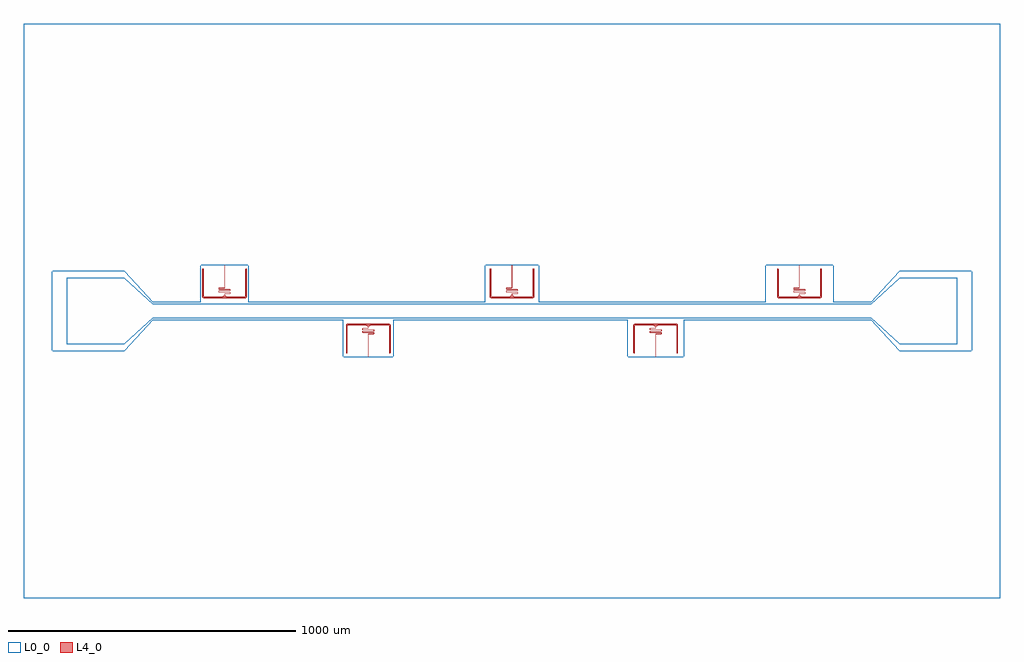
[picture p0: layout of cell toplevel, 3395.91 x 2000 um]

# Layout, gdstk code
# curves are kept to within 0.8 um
import gdstk
lib = gdstk.Library(unit=1e-6, precision=1e-09)
def P(c, l, *ps):  # polygons
    for p in ps: c.add(gdstk.Polygon(p, *l))
L0_0 = (0, 0)
L4_0 = (4, 0)

toplevel = lib.new_cell('toplevel')
P(toplevel, L0_0, [(1697.954,1000),(-1697.954,1000),(-1697.954,-137.954),(-1600,-137.954),(-1600,137.954),(-1350,137.954),(-1250,30.05),(-1082.5,30.05),(-1082.5,160.05),(-917.5,160.05),(-917.5,30.05),(-92.5,30.05),(-92.5,160.05),(92.5,160.05),(92.5,30.05),(882.5,30.05),(882.5,160.05),(1117.5,160.05),(1117.5,30.05),(1250,30.05),(1350,137.954),(1600,137.954),(1600,-137.954),(1350,-137.954),(1250,-30.05),(597.5,-30.05),(597.5,-160.05),(402.5,-160.05),(402.5,-30.05),(-412.5,-30.05),(-412.5,-160.05),(-587.5,-160.05),(-587.5,-30.05),(-1250,-30.05),(-1350,-137.954),(-1697.954,-137.954),(-1697.954,-1000),(1697.954,-1000)],
  [(-1250,25.05),(-1350,115),(-1550,115),(-1550,-115),(-1350,-115),(-1250,-25.05),(1250,-25.05),(1350,-115),(1550,-115),(1550,115),(1350,115),(1250,25.05)])
P(toplevel, L4_0, [(-1070.458,45.05),(-1073.313,45.356),(-1075.466,46.473),(-1076.915,48.45),(-1077.475,51.004),(-1077.5,145.05),(-1076.434,147.098),(-1075.109,147.548),(-1073.846,147.268),(-1072.891,146.393),(-1072.502,145.159),(-1072.496,51.622),(-1072.244,50.297),(-1070.62,50.05),(-1010,50.05),(-1000.3,54.95),(-1000.277,59.276),(-999.54,60.18),(-980.418,60.434),(-980.316,64.185),(-980.803,64.639),(-1019.048,64.651),(-1020.263,65.541),(-1020.262,69.365),(-1019.294,70.231),(-981.015,70.25),(-980.327,70.651),(-980.312,74.156),(-980.79,74.637),(-1019.042,74.651),(-1020.256,75.508),(-1020.272,79.308),(-1019.481,80.196),(-1000.971,80.251),(-1000.331,80.633),(-1000.3,159.95),(-999.7,159.95),(-999.747,80.495),(-1000.882,79.654),(-1019.325,79.617),(-1019.692,79.113),(-1019.67,75.64),(-1018.985,75.25),(-980.705,75.231),(-979.738,74.365),(-979.74,70.528),(-980.957,69.651),(-1019.21,69.637),(-1019.688,69.156),(-1019.482,65.344),(-980.088,64.984),(-979.7,61.072),(-980.309,59.778),(-999.599,59.442),(-999.7,54.95),(-990,50.05),(-927.777,50.281),(-927.498,145.159),(-926.915,146.657),(-925.647,147.465),(-924.145,147.399),(-922.952,146.484),(-922.5,145.05),(-922.503,51.613),(-923.1,48.415),(-924.934,46.168),(-926.821,45.32),(-929.332,45.05)],
  [(-500.3,-159.95),(-500.253,-80.495),(-499.118,-79.654),(-480.675,-79.617),(-480.308,-79.113),(-480.329,-75.64),(-481.015,-75.25),(-519.294,-75.231),(-520.262,-74.365),(-520.26,-70.528),(-519.042,-69.651),(-480.79,-69.637),(-480.312,-69.156),(-480.518,-65.344),(-519.912,-64.984),(-520.3,-61.072),(-519.691,-59.778),(-500.401,-59.442),(-500.3,-54.95),(-510,-50.05),(-572.243,-50.296),(-572.502,-145.159),(-573.393,-146.965),(-575.434,-147.512),(-576.915,-146.657),(-577.5,-145.05),(-577.498,-51.688),(-577.23,-49.371),(-576.428,-47.552),(-574.1,-45.635),(-570.668,-45.05),(-429.332,-45.05),(-426.888,-45.303),(-425.002,-46.122),(-423.1,-48.415),(-422.5,-51.906),(-422.502,-145.159),(-423.085,-146.657),(-424.566,-147.512),(-426.607,-146.965),(-427.498,-145.159),(-427.751,-50.301),(-490,-50.05),(-499.7,-54.95),(-499.723,-59.276),(-500.46,-60.18),(-519.582,-60.434),(-519.684,-64.185),(-519.197,-64.639),(-480.952,-64.651),(-479.737,-65.541),(-479.738,-69.365),(-480.706,-70.231),(-518.985,-70.25),(-519.673,-70.651),(-519.688,-74.156),(-519.21,-74.637),(-480.957,-74.651),(-479.744,-75.508),(-479.728,-79.308),(-480.519,-80.196),(-499.029,-80.251),(-499.669,-80.633),(-499.7,-159.95)],
  [(-70.459,45.05),(-73.313,45.356),(-75.466,46.473),(-76.9,48.415),(-77.478,51.059),(-77.5,145.05),(-76.434,147.098),(-75.218,147.54),(-73.943,147.316),(-72.891,146.393),(-72.502,145.159),(-72.498,51.715),(-72.243,50.296),(-70.62,50.05),(-10,50.05),(-0.3,54.95),(-0.277,59.276),(0.46,60.18),(19.582,60.434),(19.684,64.185),(19.197,64.639),(-19.048,64.651),(-20.263,65.541),(-20.262,69.365),(-19.294,70.231),(18.985,70.25),(19.673,70.651),(19.688,74.156),(19.21,74.637),(-19.042,74.651),(-20.256,75.508),(-20.272,79.308),(-19.481,80.196),(-0.971,80.251),(-0.331,80.633),(-0.3,159.95),(0.3,159.95),(0.253,80.495),(-0.882,79.654),(-19.325,79.617),(-19.692,79.113),(-19.67,75.64),(-18.985,75.25),(19.294,75.231),(20.262,74.365),(20.26,70.528),(19.042,69.651),(-19.21,69.637),(-19.688,69.156),(-19.482,65.344),(19.912,64.984),(20.3,61.072),(19.691,59.778),(0.401,59.442),(0.3,54.95),(10,50.05),(72.223,50.281),(72.502,145.159),(73.085,146.657),(74.353,147.465),(75.855,147.399),(77.048,146.484),(77.5,145.05),(77.495,51.512),(76.9,48.415),(75.066,46.168),(73.179,45.32),(70.668,45.05)],
  [(499.7,-159.95),(499.747,-80.495),(500.882,-79.654),(519.325,-79.617),(519.692,-79.113),(519.67,-75.64),(518.985,-75.25),(480.706,-75.231),(479.738,-74.365),(479.74,-70.528),(480.957,-69.651),(519.21,-69.637),(519.688,-69.156),(519.481,-65.344),(480.088,-64.984),(479.7,-61.072),(480.309,-59.778),(499.599,-59.442),(499.7,-54.95),(490,-50.05),(427.751,-50.301),(427.498,-145.159),(426.607,-146.965),(424.566,-147.512),(423.085,-146.657),(422.5,-145.05),(422.502,-51.688),(422.77,-49.371),(423.572,-47.552),(425.865,-45.65),(429.332,-45.05),(570.668,-45.05),(572.98,-45.271),(574.93,-46.077),(576.899,-48.415),(577.5,-51.906),(577.498,-145.159),(576.915,-146.657),(575.434,-147.512),(573.393,-146.965),(572.502,-145.159),(572.249,-50.301),(510,-50.05),(500.3,-54.95),(500.277,-59.276),(499.54,-60.18),(480.418,-60.434),(480.316,-64.185),(480.803,-64.639),(519.048,-64.651),(520.263,-65.541),(520.262,-69.365),(519.294,-70.231),(481.015,-70.25),(480.327,-70.651),(480.312,-74.156),(480.79,-74.637),(519.042,-74.651),(520.256,-75.508),(520.272,-79.308),(519.481,-80.196),(500.971,-80.251),(500.331,-80.633),(500.3,-159.95)],
  [(929.541,45.05),(926.687,45.356),(924.534,46.473),(923.1,48.415),(922.525,51.004),(922.5,145.05),(923.566,147.098),(924.891,147.548),(926.154,147.268),(927.108,146.393),(927.498,145.159),(927.503,51.659),(927.757,50.296),(929.38,50.05),(990,50.05),(999.7,54.95),(999.723,59.276),(1000.46,60.18),(1019.582,60.434),(1019.684,64.185),(1019.197,64.639),(980.952,64.651),(979.737,65.541),(979.738,69.365),(980.705,70.231),(1018.985,70.25),(1019.673,70.651),(1019.688,74.156),(1019.21,74.637),(980.957,74.651),(979.744,75.508),(979.728,79.308),(980.519,80.196),(999.029,80.251),(999.669,80.633),(999.7,159.95),(1000.3,159.95),(1000.253,80.495),(999.118,79.654),(980.675,79.617),(980.308,79.113),(980.329,75.64),(981.015,75.25),(1019.294,75.231),(1020.262,74.365),(1020.26,70.528),(1019.042,69.651),(980.79,69.637),(980.312,69.156),(980.518,65.344),(1019.912,64.984),(1020.3,61.072),(1019.691,59.778),(1000.401,59.442),(1000.3,54.95),(1010,50.05),(1072.223,50.281),(1072.502,145.159),(1073.016,146.572),(1074.353,147.465),(1075.855,147.399),(1077.048,146.484),(1077.5,145.05),(1077.495,51.512),(1076.884,48.381),(1075.066,46.168),(1073.179,45.32),(1070.668,45.05)])

lib.write_gds('toplevel.gds')
